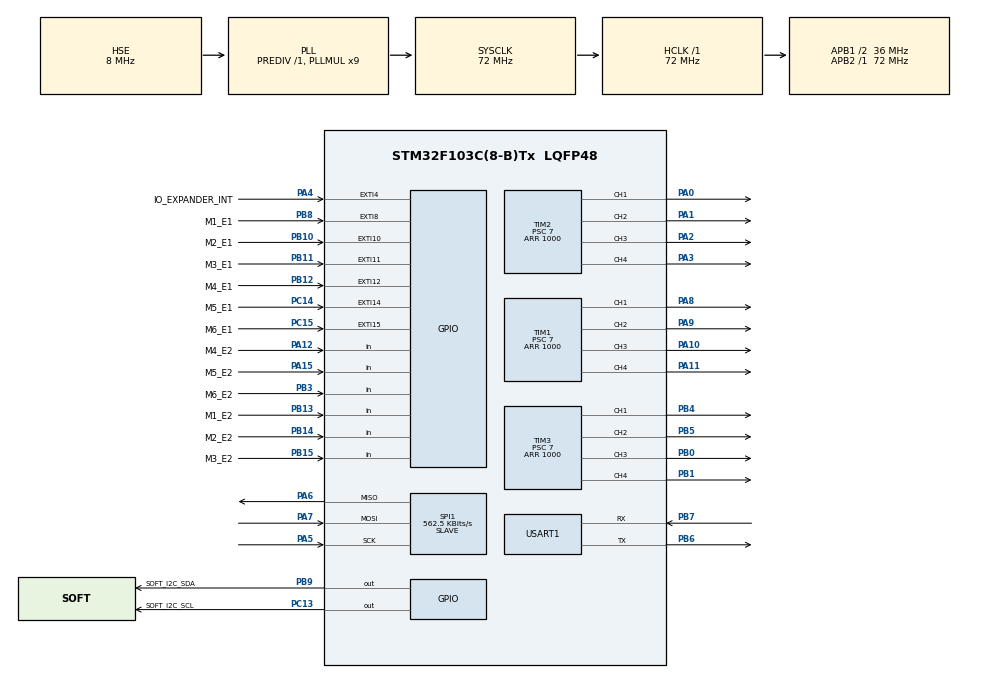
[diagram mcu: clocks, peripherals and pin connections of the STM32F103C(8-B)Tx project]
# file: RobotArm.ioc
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Dma.Request0=SPI1_RX
Dma.Request1=SPI1_TX
Dma.SPI1_RX.0.Direction=DMA_PERIPH_TO_MEMORY
Dma.SPI1_RX.0.Instance=DMA1_Channel2
Dma.SPI1_RX.0.MemDataAlignment=DMA_MDATAALIGN_BYTE
Dma.SPI1_RX.0.MemInc=DMA_MINC_ENABLE
Dma.SPI1_RX.0.Mode=DMA_CIRCULAR
Dma.SPI1_RX.0.PeriphDataAlignment=DMA_PDATAALIGN_BYTE
Dma.SPI1_RX.0.PeriphInc=DMA_PINC_DISABLE
Dma.SPI1_RX.0.Priority=DMA_PRIORITY_LOW
Dma.SPI1_TX.1.Direction=DMA_MEMORY_TO_PERIPH
Dma.SPI1_TX.1.Instance=DMA1_Channel3
Dma.SPI1_TX.1.MemDataAlignment=DMA_MDATAALIGN_BYTE
Dma.SPI1_TX.1.MemInc=DMA_MINC_ENABLE
Dma.SPI1_TX.1.Mode=DMA_CIRCULAR
Dma.SPI1_TX.1.PeriphDataAlignment=DMA_PDATAALIGN_BYTE
Dma.SPI1_TX.1.PeriphInc=DMA_PINC_DISABLE
Dma.SPI1_TX.1.Priority=DMA_PRIORITY_LOW
Mcu.Family=STM32F1
Mcu.Name=STM32F103C(8-B)Tx
Mcu.Package=LQFP48
NVIC.DMA1_Channel2_IRQn=true\:0\:0\:false\:false\:true\:false\:true
NVIC.DMA1_Channel3_IRQn=true\:0\:0\:false\:false\:true\:false\:true
NVIC.EXTI15_10_IRQn=true\:0\:0\:false\:false\:true\:true\:true
NVIC.EXTI4_IRQn=true\:0\:0\:false\:false\:true\:true\:true
NVIC.EXTI9_5_IRQn=true\:0\:0\:false\:false\:true\:true\:true
NVIC.PriorityGroup=NVIC_PRIORITYGROUP_4
NVIC.SPI1_IRQn=true\:0\:0\:false\:false\:true\:true\:true
NVIC.TIM4_IRQn=true\:0\:0\:false\:false\:true\:true\:true
NVIC.USART1_IRQn=true\:0\:0\:false\:false\:true\:true\:true
PA0-WKUP.Signal=S_TIM2_CH1_ETR
PA1.Signal=S_TIM2_CH2
PA10.Signal=S_TIM1_CH3
PA11.Signal=S_TIM1_CH4
PA12.GPIO_Label=M4_E2
PA12.GPIO_PuPd=GPIO_PULLUP
PA12.Signal=GPIO_Input
PA13.Mode=Serial_Wire
PA13.Signal=SYS_JTMS-SWDIO
PA14.Mode=Serial_Wire
PA14.Signal=SYS_JTCK-SWCLK
PA15.GPIO_Label=M5_E2
PA15.GPIO_PuPd=GPIO_PULLUP
PA15.Signal=GPIO_Input
PA2.Signal=S_TIM2_CH3
PA3.Signal=S_TIM2_CH4
PA4.GPIO_Label=IO_EXPANDER_INT
PA4.GPIO_ModeDefaultEXTI=GPIO_MODE_IT_FALLING
PA4.GPIO_PuPd=GPIO_PULLUP
PA4.Signal=GPXTI4
PA5.GPIO_PuPd=GPIO_PULLDOWN
PA5.Mode=Full_Duplex_Slave
PA5.Signal=SPI1_SCK
PA6.Mode=Full_Duplex_Slave
PA6.Signal=SPI1_MISO
PA7.GPIO_PuPd=GPIO_PULLDOWN
PA7.Mode=Full_Duplex_Slave
PA7.Signal=SPI1_MOSI
PA8.Signal=S_TIM1_CH1
PA9.Signal=S_TIM1_CH2
PB0.Signal=S_TIM3_CH3
PB1.Signal=S_TIM3_CH4
PB10.GPIO_Label=M2_E1
PB10.GPIO_PuPd=GPIO_PULLUP
PB10.Signal=GPXTI10
PB11.GPIO_Label=M3_E1
PB11.GPIO_PuPd=GPIO_PULLUP
PB11.Signal=GPXTI11
PB12.GPIO_Label=M4_E1
PB12.GPIO_PuPd=GPIO_PULLUP
PB12.Signal=GPXTI12
PB13.GPIO_Label=M1_E2
PB13.GPIO_PuPd=GPIO_PULLUP
PB13.Signal=GPIO_Input
PB14.GPIO_Label=M2_E2
PB14.GPIO_PuPd=GPIO_PULLUP
PB14.Signal=GPIO_Input
PB15.GPIO_Label=M3_E2
PB15.GPIO_PuPd=GPIO_PULLUP
PB15.Signal=GPIO_Input
PB3.GPIO_Label=M6_E2
PB3.GPIO_PuPd=GPIO_PULLUP
PB3.Signal=GPIO_Input
PB4.Signal=S_TIM3_CH1
PB5.Signal=S_TIM3_CH2
PB6.Mode=Asynchronous
PB6.Signal=USART1_TX
PB7.Mode=Asynchronous
PB7.Signal=USART1_RX
PB8.GPIO_Label=M1_E1
PB8.GPIO_PuPd=GPIO_PULLUP
PB8.Signal=GPXTI8
PB9.GPIO_Label=SOFT_I2C_SDA
PB9.GPIO_ModeDefaultOutputPP=GPIO_MODE_OUTPUT_OD
PB9.GPIO_PuPd=GPIO_PULLUP
PB9.GPIO_Speed=GPIO_SPEED_FREQ_HIGH
PB9.Signal=GPIO_Output
PC13-TAMPER-RTC.GPIO_Label=SOFT_I2C_SCL
PC13-TAMPER-RTC.GPIO_ModeDefaultOutputPP=GPIO_MODE_OUTPUT_OD
PC13-TAMPER-RTC.GPIO_PuPd=GPIO_PULLUP
PC13-TAMPER-RTC.GPIO_Speed=GPIO_SPEED_FREQ_HIGH
PC13-TAMPER-RTC.PinState=GPIO_PIN_RESET
PC13-TAMPER-RTC.Signal=GPIO_Output
PC14-OSC32_IN.GPIO_Label=M5_E1
PC14-OSC32_IN.GPIO_PuPd=GPIO_PULLUP
PC14-OSC32_IN.Signal=GPXTI14
PC15-OSC32_OUT.GPIO_Label=M6_E1
PC15-OSC32_OUT.GPIO_PuPd=GPIO_PULLUP
PC15-OSC32_OUT.Signal=GPXTI15
PD0-OSC_IN.Mode=HSE-External-Oscillator
PD0-OSC_IN.Signal=RCC_OSC_IN
PD1-OSC_OUT.Mode=HSE-External-Oscillator
PD1-OSC_OUT.Signal=RCC_OSC_OUT
ProjectManager.HeapSize=0x200
ProjectManager.StackSize=0x400
ProjectManager.TargetToolchain=STM32CubeIDE
RCC.ADCPresc=RCC_ADCPCLK2_DIV6
RCC.AHBFreq_Value=72000000
RCC.APB1CLKDivider=RCC_HCLK_DIV2
RCC.APB1Freq_Value=36000000
RCC.APB1TimFreq_Value=72000000
RCC.APB2Freq_Value=72000000
RCC.APB2TimFreq_Value=72000000
RCC.HCLKFreq_Value=72000000
RCC.PLLMUL=RCC_PLL_MUL9
RCC.PLLSourceVirtual=RCC_PLLSOURCE_HSE
RCC.SYSCLKFreq_VALUE=72000000
RCC.SYSCLKSource=RCC_SYSCLKSOURCE_PLLCLK
RCC.USBFreq_Value=72000000
SH.S_TIM1_CH1.0=TIM1_CH1,PWM Generation1 CH1
SH.S_TIM1_CH2.0=TIM1_CH2,PWM Generation2 CH2
SH.S_TIM1_CH3.0=TIM1_CH3,PWM Generation3 CH3
SH.S_TIM1_CH4.0=TIM1_CH4,PWM Generation4 CH4
SH.S_TIM2_CH1_ETR.0=TIM2_CH1,PWM Generation1 CH1
SH.S_TIM2_CH2.0=TIM2_CH2,PWM Generation2 CH2
SH.S_TIM2_CH3.0=TIM2_CH3,PWM Generation3 CH3
SH.S_TIM2_CH4.0=TIM2_CH4,PWM Generation4 CH4
SH.S_TIM3_CH1.0=TIM3_CH1,PWM Generation1 CH1
SH.S_TIM3_CH2.0=TIM3_CH2,PWM Generation2 CH2
SH.S_TIM3_CH3.0=TIM3_CH3,PWM Generation3 CH3
SH.S_TIM3_CH4.0=TIM3_CH4,PWM Generation4 CH4
SPI1.BaudRatePrescaler=SPI_BAUDRATEPRESCALER_128
SPI1.CalculateBaudRate=562.5 KBits/s
SPI1.Direction=SPI_DIRECTION_2LINES
SPI1.Mode=SPI_MODE_SLAVE
SPI1.VirtualType=VM_SLAVE
TIM1.Channel-PWM\ Generation1\ CH1=TIM_CHANNEL_1
TIM1.Channel-PWM\ Generation2\ CH2=TIM_CHANNEL_2
TIM1.Channel-PWM\ Generation3\ CH3=TIM_CHANNEL_3
TIM1.Channel-PWM\ Generation4\ CH4=TIM_CHANNEL_4
TIM1.Period=1000
TIM1.Prescaler=7
TIM2.AutoReloadPreload=TIM_AUTORELOAD_PRELOAD_ENABLE
TIM2.Channel-PWM\ Generation1\ CH1=TIM_CHANNEL_1
TIM2.Channel-PWM\ Generation2\ CH2=TIM_CHANNEL_2
TIM2.Channel-PWM\ Generation3\ CH3=TIM_CHANNEL_3
TIM2.Channel-PWM\ Generation4\ CH4=TIM_CHANNEL_4
TIM2.Period=1000
TIM2.Prescaler=7
TIM3.AutoReloadPreload=TIM_AUTORELOAD_PRELOAD_ENABLE
TIM3.Channel-PWM\ Generation1\ CH1=TIM_CHANNEL_1
TIM3.Channel-PWM\ Generation2\ CH2=TIM_CHANNEL_2
TIM3.Channel-PWM\ Generation3\ CH3=TIM_CHANNEL_3
TIM3.Channel-PWM\ Generation4\ CH4=TIM_CHANNEL_4
TIM3.Period=1000
TIM3.Prescaler=7
TIM4.AutoReloadPreload=TIM_AUTORELOAD_PRELOAD_ENABLE
TIM4.Period=1000
TIM4.Prescaler=72
USART1.VirtualMode=VM_ASYNC
VP_TIM1_VS_ClockSourceINT.Mode=Internal
VP_TIM2_VS_ClockSourceINT.Mode=Internal
VP_TIM3_VS_ClockSourceINT.Mode=Internal
VP_TIM4_VS_ClockSourceINT.Mode=Internal
board=custom

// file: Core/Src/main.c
/* USER CODE BEGIN Header */
/**
 ******************************************************************************
 * @file           : main.c
 * @brief          : Main program body
 ******************************************************************************
 * @attention
 *
 * <h2><center>&copy; Copyright (c) 2024 STMicroelectronics.
 * All rights reserved.</center></h2>
 *
 * This software component is licensed by ST under BSD 3-Clause license,
 * the "License"; You may not use this file except in compliance with the
 * License. You may obtain a copy of the License at:
 *                        opensource.org/licenses/BSD-3-Clause
 *
 ******************************************************************************
 */
/* USER CODE END Header */
#include "main.h"

/* USER CODE BEGIN Includes */
#include <stdio.h>
#include <stdlib.h>
#include "Log.h"
#include "RobotArm.h"
/* USER CODE END Includes */

SPI_HandleTypeDef hspi1;
DMA_HandleTypeDef hdma_spi1_rx;
DMA_HandleTypeDef hdma_spi1_tx;

TIM_HandleTypeDef htim1;
TIM_HandleTypeDef htim2;
TIM_HandleTypeDef htim3;
TIM_HandleTypeDef htim4;

UART_HandleTypeDef huart1;

/* USER CODE BEGIN PV */
#define UART_BUFFER_SIZE (64)

uint8_t uartRxData;
volatile uint8_t uartRxBuffer[UART_BUFFER_SIZE];
volatile int uartBuffWIndex = 0;
int uartBuffRIndex = 0;
/* USER CODE END PV */

void SystemClock_Config(void);
static void MX_GPIO_Init(void);
static void MX_DMA_Init(void);
static void MX_USART1_UART_Init(void);
static void MX_TIM1_Init(void);
static void MX_TIM3_Init(void);
static void MX_TIM2_Init(void);
static void MX_TIM4_Init(void);
static void MX_SPI1_Init(void);
/* USER CODE BEGIN PFP */
void uartRxHandler();
/* USER CODE END PFP */

int main(void)
{

  /* MCU Configuration--------------------------------------------------------*/

  /* Reset of all peripherals, Initializes the Flash interface and the Systick. */
  HAL_Init();

  /* Configure the system clock */
  SystemClock_Config();

  /* Initialize all configured peripherals */
  MX_GPIO_Init();
  MX_DMA_Init();
  MX_USART1_UART_Init();
  MX_TIM1_Init();
  MX_TIM3_Init();
  MX_TIM2_Init();
  MX_TIM4_Init();
  MX_SPI1_Init();

  /* Infinite loop */
  /* USER CODE BEGIN WHILE */

  // UART
  setUartHandler(&huart1);
  HAL_UART_Receive_IT(&huart1, &uartRxData, 1);

  // cpp code
  setup(&htim1, &htim2, &htim3, &hspi1);

  // Timer interrupt
  HAL_TIM_Base_Start_IT(&htim4);

  while (1)
  {
    uartRxHandler();
    loop();
    /* USER CODE END WHILE */

  }
}

void SystemClock_Config(void)
{
  RCC_OscInitTypeDef RCC_OscInitStruct = {0};
  RCC_ClkInitTypeDef RCC_ClkInitStruct = {0};

  /** Initializes the RCC Oscillators according to the specified parameters
  * in the RCC_OscInitTypeDef structure.
  */
  RCC_OscInitStruct.OscillatorType = RCC_OSCILLATORTYPE_HSE;
  RCC_OscInitStruct.HSEState = RCC_HSE_ON;
  RCC_OscInitStruct.HSEPredivValue = RCC_HSE_PREDIV_DIV1;
  RCC_OscInitStruct.HSIState = RCC_HSI_ON;
  RCC_OscInitStruct.PLL.PLLState = RCC_PLL_ON;
  RCC_OscInitStruct.PLL.PLLSource = RCC_PLLSOURCE_HSE;
  RCC_OscInitStruct.PLL.PLLMUL = RCC_PLL_MUL9;
  if (HAL_RCC_OscConfig(&RCC_OscInitStruct) != HAL_OK)
  {
    Error_Handler();
  }
  /** Initializes the CPU, AHB and APB buses clocks
  */
  RCC_ClkInitStruct.ClockType = RCC_CLOCKTYPE_HCLK|RCC_CLOCKTYPE_SYSCLK
                              |RCC_CLOCKTYPE_PCLK1|RCC_CLOCKTYPE_PCLK2;
  RCC_ClkInitStruct.SYSCLKSource = RCC_SYSCLKSOURCE_PLLCLK;
  RCC_ClkInitStruct.AHBCLKDivider = RCC_SYSCLK_DIV1;
  RCC_ClkInitStruct.APB1CLKDivider = RCC_HCLK_DIV2;
  RCC_ClkInitStruct.APB2CLKDivider = RCC_HCLK_DIV1;

  if (HAL_RCC_ClockConfig(&RCC_ClkInitStruct, FLASH_LATENCY_2) != HAL_OK)
  {
    Error_Handler();
  }
}

static void MX_SPI1_Init(void)
{

  /* SPI1 parameter configuration*/
  hspi1.Instance = SPI1;
  hspi1.Init.Mode = SPI_MODE_SLAVE;
  hspi1.Init.Direction = SPI_DIRECTION_2LINES;
  hspi1.Init.DataSize = SPI_DATASIZE_8BIT;
  hspi1.Init.CLKPolarity = SPI_POLARITY_LOW;
  hspi1.Init.CLKPhase = SPI_PHASE_1EDGE;
  hspi1.Init.NSS = SPI_NSS_SOFT;
  hspi1.Init.BaudRatePrescaler = SPI_BAUDRATEPRESCALER_128;
  hspi1.Init.FirstBit = SPI_FIRSTBIT_MSB;
  hspi1.Init.TIMode = SPI_TIMODE_DISABLE;
  hspi1.Init.CRCCalculation = SPI_CRCCALCULATION_DISABLE;
  hspi1.Init.CRCPolynomial = 10;
  if (HAL_SPI_Init(&hspi1) != HAL_OK)
  {
    Error_Handler();
  }

}

static void MX_TIM1_Init(void)
{

  TIM_ClockConfigTypeDef sClockSourceConfig = {0};
  TIM_MasterConfigTypeDef sMasterConfig = {0};
  TIM_OC_InitTypeDef sConfigOC = {0};
  TIM_BreakDeadTimeConfigTypeDef sBreakDeadTimeConfig = {0};

  htim1.Instance = TIM1;
  htim1.Init.Prescaler = 7;
  htim1.Init.CounterMode = TIM_COUNTERMODE_UP;
  htim1.Init.Period = 1000;
  htim1.Init.ClockDivision = TIM_CLOCKDIVISION_DIV1;
  htim1.Init.RepetitionCounter = 0;
  htim1.Init.AutoReloadPreload = TIM_AUTORELOAD_PRELOAD_DISABLE;
  if (HAL_TIM_Base_Init(&htim1) != HAL_OK)
  {
    Error_Handler();
  }
  sClockSourceConfig.ClockSource = TIM_CLOCKSOURCE_INTERNAL;
  if (HAL_TIM_ConfigClockSource(&htim1, &sClockSourceConfig) != HAL_OK)
  {
    Error_Handler();
  }
  if (HAL_TIM_PWM_Init(&htim1) != HAL_OK)
  {
    Error_Handler();
  }
  sMasterConfig.MasterOutputTrigger = TIM_TRGO_RESET;
  sMasterConfig.MasterSlaveMode = TIM_MASTERSLAVEMODE_DISABLE;
  if (HAL_TIMEx_MasterConfigSynchronization(&htim1, &sMasterConfig) != HAL_OK)
  {
    Error_Handler();
  }
  sConfigOC.OCMode = TIM_OCMODE_PWM1;
  sConfigOC.Pulse = 0;
  sConfigOC.OCPolarity = TIM_OCPOLARITY_HIGH;
  sConfigOC.OCNPolarity = TIM_OCNPOLARITY_HIGH;
  sConfigOC.OCFastMode = TIM_OCFAST_DISABLE;
  sConfigOC.OCIdleState = TIM_OCIDLESTATE_RESET;
  sConfigOC.OCNIdleState = TIM_OCNIDLESTATE_RESET;
  if (HAL_TIM_PWM_ConfigChannel(&htim1, &sConfigOC, TIM_CHANNEL_1) != HAL_OK)
  {
    Error_Handler();
  }
  if (HAL_TIM_PWM_ConfigChannel(&htim1, &sConfigOC, TIM_CHANNEL_2) != HAL_OK)
  {
    Error_Handler();
  }
  if (HAL_TIM_PWM_ConfigChannel(&htim1, &sConfigOC, TIM_CHANNEL_3) != HAL_OK)
  {
    Error_Handler();
  }
  if (HAL_TIM_PWM_ConfigChannel(&htim1, &sConfigOC, TIM_CHANNEL_4) != HAL_OK)
  {
    Error_Handler();
  }
  sBreakDeadTimeConfig.OffStateRunMode = TIM_OSSR_DISABLE;
  sBreakDeadTimeConfig.OffStateIDLEMode = TIM_OSSI_DISABLE;
  sBreakDeadTimeConfig.LockLevel = TIM_LOCKLEVEL_OFF;
  sBreakDeadTimeConfig.DeadTime = 0;
  sBreakDeadTimeConfig.BreakState = TIM_BREAK_DISABLE;
  sBreakDeadTimeConfig.BreakPolarity = TIM_BREAKPOLARITY_HIGH;
  sBreakDeadTimeConfig.AutomaticOutput = TIM_AUTOMATICOUTPUT_DISABLE;
  if (HAL_TIMEx_ConfigBreakDeadTime(&htim1, &sBreakDeadTimeConfig) != HAL_OK)
  {
    Error_Handler();
  }
  HAL_TIM_MspPostInit(&htim1);

}

static void MX_TIM2_Init(void)
{

  TIM_ClockConfigTypeDef sClockSourceConfig = {0};
  TIM_MasterConfigTypeDef sMasterConfig = {0};
  TIM_OC_InitTypeDef sConfigOC = {0};

  htim2.Instance = TIM2;
  htim2.Init.Prescaler = 7;
  htim2.Init.CounterMode = TIM_COUNTERMODE_UP;
  htim2.Init.Period = 1000;
  htim2.Init.ClockDivision = TIM_CLOCKDIVISION_DIV1;
  htim2.Init.AutoReloadPreload = TIM_AUTORELOAD_PRELOAD_ENABLE;
  if (HAL_TIM_Base_Init(&htim2) != HAL_OK)
  {
    Error_Handler();
  }
  sClockSourceConfig.ClockSource = TIM_CLOCKSOURCE_INTERNAL;
  if (HAL_TIM_ConfigClockSource(&htim2, &sClockSourceConfig) != HAL_OK)
  {
    Error_Handler();
  }
  if (HAL_TIM_PWM_Init(&htim2) != HAL_OK)
  {
    Error_Handler();
  }
  sMasterConfig.MasterOutputTrigger = TIM_TRGO_RESET;
  sMasterConfig.MasterSlaveMode = TIM_MASTERSLAVEMODE_DISABLE;
  if (HAL_TIMEx_MasterConfigSynchronization(&htim2, &sMasterConfig) != HAL_OK)
  {
    Error_Handler();
  }
  sConfigOC.OCMode = TIM_OCMODE_PWM1;
  sConfigOC.Pulse = 0;
  sConfigOC.OCPolarity = TIM_OCPOLARITY_HIGH;
  sConfigOC.OCFastMode = TIM_OCFAST_DISABLE;
  if (HAL_TIM_PWM_ConfigChannel(&htim2, &sConfigOC, TIM_CHANNEL_1) != HAL_OK)
  {
    Error_Handler();
  }
  if (HAL_TIM_PWM_ConfigChannel(&htim2, &sConfigOC, TIM_CHANNEL_2) != HAL_OK)
  {
    Error_Handler();
  }
  if (HAL_TIM_PWM_ConfigChannel(&htim2, &sConfigOC, TIM_CHANNEL_3) != HAL_OK)
  {
    Error_Handler();
  }
  if (HAL_TIM_PWM_ConfigChannel(&htim2, &sConfigOC, TIM_CHANNEL_4) != HAL_OK)
  {
    Error_Handler();
  }
  HAL_TIM_MspPostInit(&htim2);

}

static void MX_TIM3_Init(void)
{

  TIM_ClockConfigTypeDef sClockSourceConfig = {0};
  TIM_MasterConfigTypeDef sMasterConfig = {0};
  TIM_OC_InitTypeDef sConfigOC = {0};

  htim3.Instance = TIM3;
  htim3.Init.Prescaler = 7;
  htim3.Init.CounterMode = TIM_COUNTERMODE_UP;
  htim3.Init.Period = 1000;
  htim3.Init.ClockDivision = TIM_CLOCKDIVISION_DIV1;
  htim3.Init.AutoReloadPreload = TIM_AUTORELOAD_PRELOAD_ENABLE;
  if (HAL_TIM_Base_Init(&htim3) != HAL_OK)
  {
    Error_Handler();
  }
  sClockSourceConfig.ClockSource = TIM_CLOCKSOURCE_INTERNAL;
  if (HAL_TIM_ConfigClockSource(&htim3, &sClockSourceConfig) != HAL_OK)
  {
    Error_Handler();
  }
  if (HAL_TIM_PWM_Init(&htim3) != HAL_OK)
  {
    Error_Handler();
  }
  sMasterConfig.MasterOutputTrigger = TIM_TRGO_RESET;
  sMasterConfig.MasterSlaveMode = TIM_MASTERSLAVEMODE_DISABLE;
  if (HAL_TIMEx_MasterConfigSynchronization(&htim3, &sMasterConfig) != HAL_OK)
  {
    Error_Handler();
  }
  sConfigOC.OCMode = TIM_OCMODE_PWM1;
  sConfigOC.Pulse = 0;
  sConfigOC.OCPolarity = TIM_OCPOLARITY_HIGH;
  sConfigOC.OCFastMode = TIM_OCFAST_DISABLE;
  if (HAL_TIM_PWM_ConfigChannel(&htim3, &sConfigOC, TIM_CHANNEL_1) != HAL_OK)
  {
    Error_Handler();
  }
  if (HAL_TIM_PWM_ConfigChannel(&htim3, &sConfigOC, TIM_CHANNEL_2) != HAL_OK)
  {
    Error_Handler();
  }
  if (HAL_TIM_PWM_ConfigChannel(&htim3, &sConfigOC, TIM_CHANNEL_3) != HAL_OK)
  {
    Error_Handler();
  }
  if (HAL_TIM_PWM_ConfigChannel(&htim3, &sConfigOC, TIM_CHANNEL_4) != HAL_OK)
  {
    Error_Handler();
  }
  HAL_TIM_MspPostInit(&htim3);

}

static void MX_TIM4_Init(void)
{

  TIM_ClockConfigTypeDef sClockSourceConfig = {0};
  TIM_MasterConfigTypeDef sMasterConfig = {0};

  htim4.Instance = TIM4;
  htim4.Init.Prescaler = 72;
  htim4.Init.CounterMode = TIM_COUNTERMODE_UP;
  htim4.Init.Period = 1000;
  htim4.Init.ClockDivision = TIM_CLOCKDIVISION_DIV1;
  htim4.Init.AutoReloadPreload = TIM_AUTORELOAD_PRELOAD_ENABLE;
  if (HAL_TIM_Base_Init(&htim4) != HAL_OK)
  {
    Error_Handler();
  }
  sClockSourceConfig.ClockSource = TIM_CLOCKSOURCE_INTERNAL;
  if (HAL_TIM_ConfigClockSource(&htim4, &sClockSourceConfig) != HAL_OK)
  {
    Error_Handler();
  }
  sMasterConfig.MasterOutputTrigger = TIM_TRGO_RESET;
  sMasterConfig.MasterSlaveMode = TIM_MASTERSLAVEMODE_DISABLE;
  if (HAL_TIMEx_MasterConfigSynchronization(&htim4, &sMasterConfig) != HAL_OK)
  {
    Error_Handler();
  }

}

static void MX_USART1_UART_Init(void)
{

  huart1.Instance = USART1;
  huart1.Init.BaudRate = 115200;
  huart1.Init.WordLength = UART_WORDLENGTH_8B;
  huart1.Init.StopBits = UART_STOPBITS_1;
  huart1.Init.Parity = UART_PARITY_NONE;
  huart1.Init.Mode = UART_MODE_TX_RX;
  huart1.Init.HwFlowCtl = UART_HWCONTROL_NONE;
  huart1.Init.OverSampling = UART_OVERSAMPLING_16;
  if (HAL_UART_Init(&huart1) != HAL_OK)
  {
    Error_Handler();
  }

}

static void MX_DMA_Init(void)
{

  /* DMA controller clock enable */
  __HAL_RCC_DMA1_CLK_ENABLE();

  /* DMA interrupt init */
  /* DMA1_Channel2_IRQn interrupt configuration */
  HAL_NVIC_SetPriority(DMA1_Channel2_IRQn, 0, 0);
  HAL_NVIC_EnableIRQ(DMA1_Channel2_IRQn);
  /* DMA1_Channel3_IRQn interrupt configuration */
  HAL_NVIC_SetPriority(DMA1_Channel3_IRQn, 0, 0);
  HAL_NVIC_EnableIRQ(DMA1_Channel3_IRQn);

}

static void MX_GPIO_Init(void)
{
  GPIO_InitTypeDef GPIO_InitStruct = {0};

  /* GPIO Ports Clock Enable */
  __HAL_RCC_GPIOC_CLK_ENABLE();
  __HAL_RCC_GPIOD_CLK_ENABLE();
  __HAL_RCC_GPIOA_CLK_ENABLE();
  __HAL_RCC_GPIOB_CLK_ENABLE();

  /*Configure GPIO pin Output Level */
  HAL_GPIO_WritePin(SOFT_I2C_SCL_GPIO_Port, SOFT_I2C_SCL_Pin, GPIO_PIN_RESET);

  /*Configure GPIO pin Output Level */
  HAL_GPIO_WritePin(SOFT_I2C_SDA_GPIO_Port, SOFT_I2C_SDA_Pin, GPIO_PIN_RESET);

  /*Configure GPIO pin : SOFT_I2C_SCL_Pin */
  GPIO_InitStruct.Pin = SOFT_I2C_SCL_Pin;
  GPIO_InitStruct.Mode = GPIO_MODE_OUTPUT_OD;
  GPIO_InitStruct.Pull = GPIO_PULLUP;
  GPIO_InitStruct.Speed = GPIO_SPEED_FREQ_HIGH;
  HAL_GPIO_Init(SOFT_I2C_SCL_GPIO_Port, &GPIO_InitStruct);

  /*Configure GPIO pins : M5_E1_Pin M6_E1_Pin */
  GPIO_InitStruct.Pin = M5_E1_Pin|M6_E1_Pin;
  GPIO_InitStruct.Mode = GPIO_MODE_IT_RISING;
  GPIO_InitStruct.Pull = GPIO_PULLUP;
  HAL_GPIO_Init(GPIOC, &GPIO_InitStruct);

  /*Configure GPIO pin : IO_EXPANDER_INT_Pin */
  GPIO_InitStruct.Pin = IO_EXPANDER_INT_Pin;
  GPIO_InitStruct.Mode = GPIO_MODE_IT_FALLING;
  GPIO_InitStruct.Pull = GPIO_PULLUP;
  HAL_GPIO_Init(IO_EXPANDER_INT_GPIO_Port, &GPIO_InitStruct);

  /*Configure GPIO pins : M2_E1_Pin M3_E1_Pin M4_E1_Pin M1_E1_Pin */
  GPIO_InitStruct.Pin = M2_E1_Pin|M3_E1_Pin|M4_E1_Pin|M1_E1_Pin;
  GPIO_InitStruct.Mode = GPIO_MODE_IT_RISING;
  GPIO_InitStruct.Pull = GPIO_PULLUP;
  HAL_GPIO_Init(GPIOB, &GPIO_InitStruct);

  /*Configure GPIO pins : M1_E2_Pin M2_E2_Pin M3_E2_Pin M6_E2_Pin */
  GPIO_InitStruct.Pin = M1_E2_Pin|M2_E2_Pin|M3_E2_Pin|M6_E2_Pin;
  GPIO_InitStruct.Mode = GPIO_MODE_INPUT;
  GPIO_InitStruct.Pull = GPIO_PULLUP;
  HAL_GPIO_Init(GPIOB, &GPIO_InitStruct);

  /*Configure GPIO pins : M4_E2_Pin M5_E2_Pin */
  GPIO_InitStruct.Pin = M4_E2_Pin|M5_E2_Pin;
  GPIO_InitStruct.Mode = GPIO_MODE_INPUT;
  GPIO_InitStruct.Pull = GPIO_PULLUP;
  HAL_GPIO_Init(GPIOA, &GPIO_InitStruct);

  /*Configure GPIO pin : SOFT_I2C_SDA_Pin */
  GPIO_InitStruct.Pin = SOFT_I2C_SDA_Pin;
  GPIO_InitStruct.Mode = GPIO_MODE_OUTPUT_OD;
  GPIO_InitStruct.Pull = GPIO_PULLUP;
  GPIO_InitStruct.Speed = GPIO_SPEED_FREQ_HIGH;
  HAL_GPIO_Init(SOFT_I2C_SDA_GPIO_Port, &GPIO_InitStruct);

  /* EXTI interrupt init*/
  HAL_NVIC_SetPriority(EXTI4_IRQn, 0, 0);
  HAL_NVIC_EnableIRQ(EXTI4_IRQn);

  HAL_NVIC_SetPriority(EXTI9_5_IRQn, 0, 0);
  HAL_NVIC_EnableIRQ(EXTI9_5_IRQn);

  HAL_NVIC_SetPriority(EXTI15_10_IRQn, 0, 0);
  HAL_NVIC_EnableIRQ(EXTI15_10_IRQn);

}

/* USER CODE BEGIN 4 */
void HAL_UART_RxCpltCallback(UART_HandleTypeDef *huart)
{
  if (huart->Instance == USART1)
  {
    uartBuffWIndex++;
    if (uartBuffWIndex >= UART_BUFFER_SIZE)
    {
      uartBuffWIndex = 0;
    }
    uartRxBuffer[uartBuffWIndex] = uartRxData;
    HAL_UART_Receive_IT(&huart1, &uartRxData, 1);
  }
}

void uartRxHandler()
{
  if (uartBuffRIndex != uartBuffWIndex)
  {
    uartBuffRIndex++;
    if (uartBuffRIndex >= UART_BUFFER_SIZE)
    {
      uartBuffRIndex = 0;
    }
    onUartDataReceived(uartRxBuffer[uartBuffRIndex]);
  }
}

void HAL_SPI_TxRxCpltCallback(SPI_HandleTypeDef *hspi)
{
  onSpiDataReceived();
}

void HAL_SPI_ErrorCallback(SPI_HandleTypeDef *hspi)
{
    // println("HAL_SPI_ErrorCallback: error 0x%X", HAL_SPI_GetError(hspi));
    onSpiDataError();
}

void HAL_SPI_AbortCpltCallback(SPI_HandleTypeDef *hspi)
{
  println("HAL_SPI_AbortCpltCallback");
}

void HAL_GPIO_EXTI_Callback(uint16_t GPIO_Pin)
{
  onGpioExt(GPIO_Pin);
}

void HAL_TIM_PeriodElapsedCallback(TIM_HandleTypeDef *htim)
{
  if(htim == &htim4) {
    onTimerInterrupt();
  }
}
/* USER CODE END 4 */

void Error_Handler(void)
{
  /* USER CODE BEGIN Error_Handler_Debug */
  println("Error occured");
  /* User can add his own implementation to report the HAL error return state */
  __disable_irq();
  while (1)
  {
  }
  /* USER CODE END Error_Handler_Debug */
}

/************************ (C) COPYRIGHT STMicroelectronics *****END OF FILE****/
